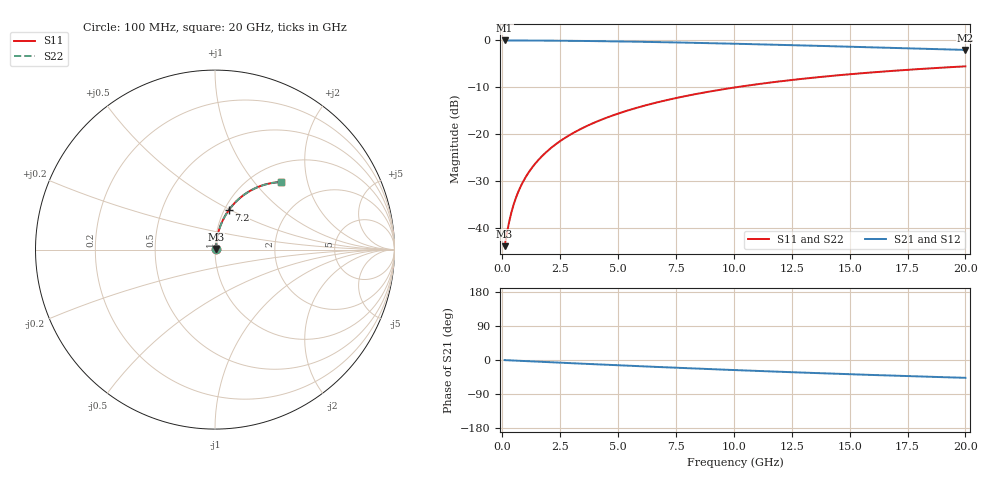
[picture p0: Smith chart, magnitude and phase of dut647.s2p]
! Touchstone file exported from HFSS 2024.1.0
!  File:  C:/UserFiles/LocalFiles/RDL_TSV_Batchsim/temp_RDL_top_647_1779781189.aedt
!  Generated:  03:42:08 PM May 26, 2026
!  Design:  RDL_top
!  Project:  temp_RDL_top_647_1779781189
!  Setup:  Setup1
!  Solution:  Sweep
! Variables:
!  dtsv = 10.80580581um
!  hbump = 3um
!  htsv = 89.47um
!  ldown = 100um
!  lrdl = 612.24um
!  p = 40
!  p1 = 49.1um
!  rhole = 1um
!  t = 450um
!  tdown = 3.915915916um
!  trdl = 3.9um
!  wdown = 15.38538539um
!  wrdl = 10.38um
# GHz S MA R 50.000000
! Terminal data exported
! Port[1] = Box2_T1
! Port[2] = Box2_T2
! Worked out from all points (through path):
!   200 points, 100 MHz to 20 GHz, reference 50 ohm
!   highest |S21| = -0.05 dB at 100 MHz (marker M1); lowest = -2.1 dB at 20 GHz (marker M2)
!   group delay of S21, straight-line fit = 6.54 ps
!   lowest |S11| = -43.9 dB at 100 MHz (marker M3), VSWR 1.01, Z = 50.5 + j0.349 ohm
!   |S11| at or under -10 dB: start of sweep to 10.13 GHz
!   |S22| runs from -43.9 to -5.6 dB; largest |S21 - S12| = 3.1e-15
!   S11 on the Smith chart (normalised r, x): 100 MHz: 1.01, +0.01; 7.2 GHz: 1.05, +0.49; 20 GHz: 1.34, +1.39
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0.1  0.006383 32.8  0.9946 -0.3  0.9946 -0.3  0.006383 32.8
! Gamma 0 0 0 0
! Port Impedance 50 0 50 0
0.2  0.008796 51.6  0.9946 -0.6  0.9946 -0.6  0.008796 51.6
0.3  0.01173 61.4  0.9944 -0.9  0.9944 -0.9  0.01173 61.4
0.4  0.01485 67.0  0.9943 -1.2  0.9943 -1.2  0.01485 67.1
0.5  0.01805 70.6  0.9941 -1.4  0.9941 -1.4  0.01805 70.6
0.6  0.02129 73.0  0.994 -1.7  0.994 -1.7  0.02129 73.0
0.8  0.02784 76.1  0.9936 -2.3  0.9936 -2.3  0.02784 76.0
1.1  0.03774 78.3  0.9929 -3.1  0.9929 -3.1  0.03775 78.3
1.5  0.05102 79.6  0.9919 -4.3  0.9919 -4.3  0.05101 79.6
1.8  0.06098 79.9  0.9909 -5.1  0.9909 -5.1  0.06098 79.9
2.1  0.07093 79.9  0.9898 -5.9  0.9898 -5.9  0.07093 79.9
2.7  0.09076 79.4  0.9871 -7.6  0.9871 -7.6  0.09076 79.4
3.5  0.117 78.2  0.9826 -9.8  0.9826 -9.8  0.117 78.2
4.2  0.1397 77.0  0.9778 -11.7  0.9778 -11.7  0.1397 77.0
5  0.1652 75.4  0.9716 -13.9  0.9716 -13.9  0.1652 75.4
6.8  0.221 71.6  0.9548 -18.6  0.9548 -18.6  0.221 71.6
7.2  0.233 70.7  0.9506 -19.6  0.9506 -19.6  0.233 70.7
8.6  0.2739 67.7  0.9351 -23.1  0.9351 -23.1  0.2739 67.7
10.1  0.3155 64.5  0.917 -26.7  0.917 -26.7  0.3154 64.5
13.4  0.3983 57.7  0.8745 -34.2  0.8745 -34.2  0.3982 57.7
16.7  0.4686 51.4  0.8308 -40.9  0.8308 -40.9  0.4685 51.4
20  0.527 45.6  0.7883 -47.0  0.7883 -47.0  0.5268 45.6
